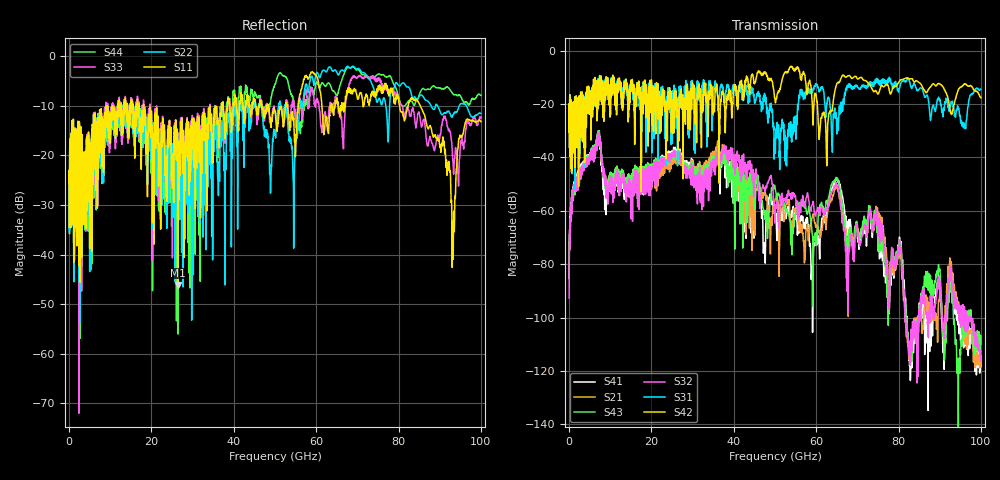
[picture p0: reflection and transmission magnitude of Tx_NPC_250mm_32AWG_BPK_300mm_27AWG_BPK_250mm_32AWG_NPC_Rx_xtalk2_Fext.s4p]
! Info: Touchstone file created by Circ.  Input file=Tx_NPC_250mm_32AWG_BPK_300mm_27AWG_BPK_250mm_32AWG_NPC_Rx.circ
# Hz S RI R 50
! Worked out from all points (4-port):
!   10000 points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, 10 MHz to 100 GHz, reference 50 ohm
!   strongest paths, dB at 10 MHz, 25.01 GHz, 50.01 GHz, 75.01 GHz, 100 GHz:
!     S42: -30.6, -19.4, -18.5, -16.3, -17.6
!     S31: -30.5, -21.1, -34.1, -10.8, -14.4
!     S32: -92.7, -38.2, -63.6, -68.2, -116.3
!     S43: -78.8, -38.3, -51.5, -73.4, -110.0
!     S21: -78.7, -40.2, -55.9, -66.4, -117.7
!     S41: -85.3, -37.5, -60.8, -73.5, -118.3
!   lowest |S11| = -46.2 dB at 26.38 GHz (marker M1), VSWR 1.01, Z = 49.6 - j0.261 ohm
!   |S11| at or under -10 dB: start of sweep to 11.79 GHz; 18.11 GHz to 37.01 GHz (18.9 GHz wide, 68.6 % of centre); 85.24 GHz to end of sweep (the widest 3 of 51)
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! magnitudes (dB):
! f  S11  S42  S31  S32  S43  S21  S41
! 10 MHz  -25.8  -30.6  -30.5  -92.7  -78.8  -78.7  -85.3
! 6.91 GHz  -19.9  -18.5  -17.5  -31.9  -31.4  -32.1  -32.2
! 26.38 GHz  -46.2  -25.4  -22.3  -40.0  -40.0  -42.1  -39.4
! 58.87 GHz  -3.3  -15.8  -15.2  -58.5  -65.7  -63.5  -83.7
! 65.02 GHz  -8.5  -12.4  -30.3  -50.8  -48.4  -51.7  -48.5
! 67.59 GHz  -7.5  -9.6  -13.1  -79.5  -70.5  -75.5  -64.6
! 100 GHz  -13.2  -17.6  -14.4  -116.3  -110.0  -117.7  -118.3
